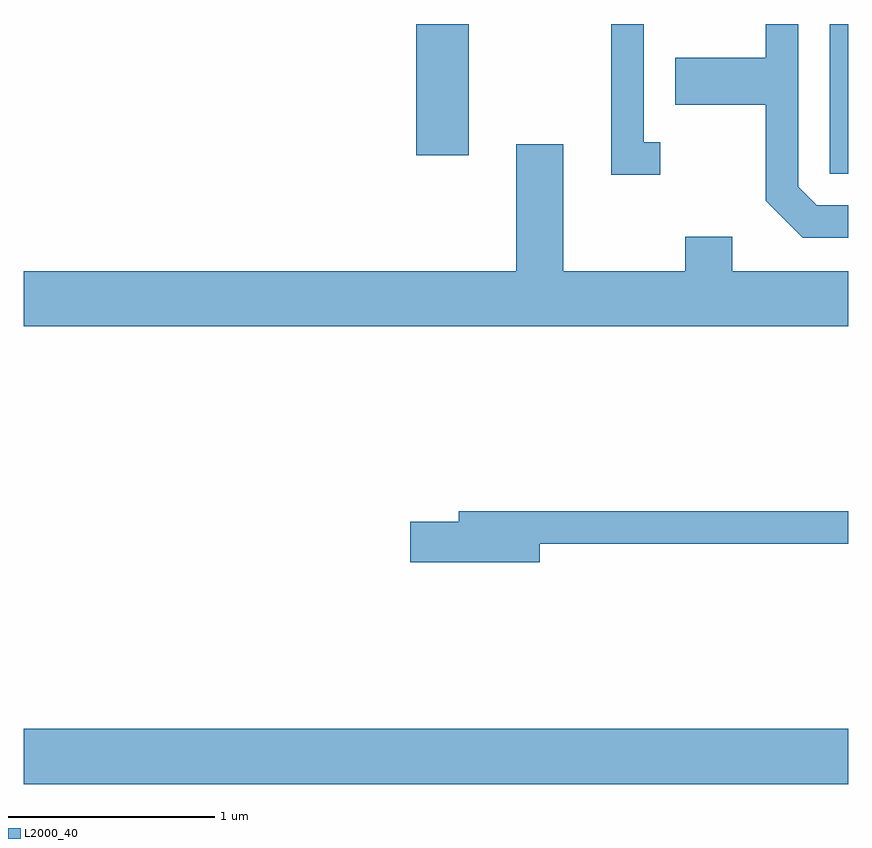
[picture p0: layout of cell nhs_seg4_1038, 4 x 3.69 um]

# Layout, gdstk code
import gdstk
lib = gdstk.Library(unit=1e-6, precision=1e-09)
def R(c, l, rs):  # rectangles x0, y0, x1, y1
    for r in rs: c.add(gdstk.rectangle(r[:2], r[2:], *l))
def P(c, l, *ps):  # polygons
    for p in ps: c.add(gdstk.Polygon(p, *l))
L2000_40 = (2000, 40)

nhs_seg4_1038 = lib.new_cell('nhs_seg4_1038')
R(nhs_seg4_1038, L2000_40, [(215.611,1290.296,219.611,1290.564), (219.521,1293.256,219.611,1293.982), (217.516,1293.346,217.769,1293.982)])
P(nhs_seg4_1038, L2000_40, [(218.698,1293.409),(218.619,1293.409),(218.619,1293.982),(218.461,1293.982),(218.461,1293.251),(218.698,1293.251)],
  [(219.611,1293.104),(219.457,1293.104),(219.369,1293.192),(219.369,1293.982),(219.211,1293.982),(219.211,1293.819),(218.771,1293.819),(218.771,1293.591),(219.211,1293.591),(219.211,1293.124),(219.389,1292.946),(219.611,1292.946)],
  [(219.611,1292.784),(219.049,1292.784),(219.049,1292.949),(218.821,1292.949),(218.821,1292.784),(218.229,1292.784),(218.229,1293.399),(218.001,1293.399),(218.001,1292.784),(215.611,1292.784),(215.611,1292.516),(219.611,1292.516)],
  [(218.114,1291.461),(219.611,1291.461),(219.611,1291.619),(217.721,1291.619),(217.721,1291.569),(217.486,1291.569),(217.486,1291.371),(218.114,1291.371)])

lib.write_gds('nhs_seg4_1038.gds')
